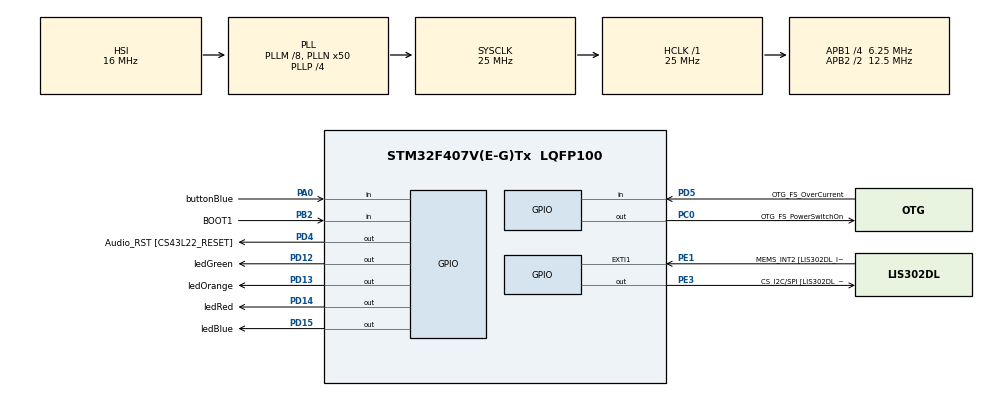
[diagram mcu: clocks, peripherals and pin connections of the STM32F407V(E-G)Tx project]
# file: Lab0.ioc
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Mcu.Family=STM32F4
Mcu.Name=STM32F407V(E-G)Tx
Mcu.Package=LQFP100
NVIC.PriorityGroup=NVIC_PRIORITYGROUP_4
NVIC.TIM7_IRQn=true\:0\:0\:false\:false\:true\:false\:true\:true
NVIC.TimeBase=TIM7_IRQn
NVIC.TimeBaseIP=TIM7
PA0-WKUP.GPIO_Label=buttonBlue
PA0-WKUP.Signal=GPIO_Input
PA10.GPIO_Label=OTG_FS_ID
PA10.GPIO_Mode=GPIO_MODE_AF_PP
PA10.GPIO_PuPd=GPIO_NOPULL
PA10.GPIO_Speed=GPIO_SPEED_FREQ_LOW
PA10.Signal=USB_OTG_FS_ID
PA11.GPIO_Label=OTG_FS_DM
PA11.GPIO_Mode=GPIO_MODE_AF_PP
PA11.GPIO_PuPd=GPIO_NOPULL
PA11.GPIO_Speed=GPIO_SPEED_FREQ_LOW
PA11.Signal=USB_OTG_FS_DM
PA12.GPIO_Label=OTG_FS_DP
PA12.GPIO_Mode=GPIO_MODE_AF_PP
PA12.GPIO_PuPd=GPIO_NOPULL
PA12.GPIO_Speed=GPIO_SPEED_FREQ_LOW
PA12.Signal=USB_OTG_FS_DP
PA13.GPIO_Label=SWDIO
PA13.Mode=Serial_Wire
PA13.Signal=SYS_JTMS-SWDIO
PA14.GPIO_Label=SWCLK
PA14.Mode=Serial_Wire
PA14.Signal=SYS_JTCK-SWCLK
PA4.GPIO_Label=I2S3_WS [CS43L22_LRCK]
PA4.GPIO_Mode=GPIO_MODE_AF_PP
PA4.GPIO_PuPd=GPIO_NOPULL
PA4.GPIO_Speed=GPIO_SPEED_FREQ_LOW
PA4.Signal=I2S3_WS
PA5.GPIO_Label=SPI1_SCK [LIS302DL_SCL/SPC]
PA5.GPIO_Mode=GPIO_MODE_AF_PP
PA5.GPIO_PuPd=GPIO_NOPULL
PA5.GPIO_Speed=GPIO_SPEED_FREQ_LOW
PA5.Signal=SPI1_SCK
PA6.GPIO_Label=SPI1_MISO [LIS302DL_SDO]
PA6.GPIO_Mode=GPIO_MODE_AF_PP
PA6.GPIO_PuPd=GPIO_NOPULL
PA6.GPIO_Speed=GPIO_SPEED_FREQ_LOW
PA6.Signal=SPI1_MISO
PA7.GPIO_Label=SPI1_MOSI [LIS302DL_SDA/SDI/SDO]
PA7.GPIO_Mode=GPIO_MODE_AF_PP
PA7.GPIO_PuPd=GPIO_NOPULL
PA7.GPIO_Speed=GPIO_SPEED_FREQ_LOW
PA7.Signal=SPI1_MOSI
PA9.GPIO_Label=VBUS_FS
PA9.GPIO_Mode=GPIO_MODE_INPUT
PA9.GPIO_PuPd=GPIO_NOPULL
PA9.Signal=USB_OTG_FS_VBUS
PB10.GPIO_Label=CLK_IN [MP45DT02_CLK]
PB10.GPIO_Mode=GPIO_MODE_AF_PP
PB10.GPIO_PuPd=GPIO_NOPULL
PB10.GPIO_Speed=GPIO_SPEED_FREQ_LOW
PB10.Signal=I2S2_CK
PB2.GPIO_Label=BOOT1
PB2.GPIO_Mode=GPIO_MODE_INPUT
PB2.GPIO_PuPd=GPIO_NOPULL
PB2.Signal=GPIO_Input
PB3.GPIO_Label=SWO
PB3.Signal=SYS_JTDO-SWO
PB6.GPIO_Label=Audio_SCL [CS43L22_SCL]
PB6.GPIO_Mode=GPIO_MODE_AF_OD
PB6.GPIO_PuPd=GPIO_NOPULL
PB6.GPIO_Speed=GPIO_SPEED_FREQ_LOW
PB6.Signal=I2C1_SCL
PB9.GPIO_Label=Audio_SDA [CS43L22_SDA]
PB9.GPIO_Mode=GPIO_MODE_AF_OD
PB9.GPIO_PuPd=GPIO_NOPULL
PB9.GPIO_Speed=GPIO_SPEED_FREQ_LOW
PB9.Signal=I2C1_SDA
PC0.GPIO_Label=OTG_FS_PowerSwitchOn
PC0.GPIO_PuPd=GPIO_NOPULL
PC0.GPIO_Speed=GPIO_SPEED_FREQ_LOW
PC0.PinState=GPIO_PIN_SET
PC0.Signal=GPIO_Output
PC10.GPIO_Label=I2S3_SCK [CS43L22_SCLK]
PC10.GPIO_Mode=GPIO_MODE_AF_PP
PC10.GPIO_PuPd=GPIO_NOPULL
PC10.GPIO_Speed=GPIO_SPEED_FREQ_LOW
PC10.Signal=I2S3_CK
PC12.GPIO_Label=I2S3_SD [CS43L22_SDIN]
PC12.GPIO_Mode=GPIO_MODE_AF_PP
PC12.GPIO_PuPd=GPIO_NOPULL
PC12.GPIO_Speed=GPIO_SPEED_FREQ_LOW
PC12.Signal=I2S3_SD
PC14-OSC32_IN.GPIO_Label=PC14-OSC32_IN
PC14-OSC32_IN.Signal=RCC_OSC32_IN
PC15-OSC32_OUT.GPIO_Label=PC15-OSC32_OUT
PC15-OSC32_OUT.Signal=RCC_OSC32_OUT
PC3.GPIO_Label=PDM_OUT [MP45DT02_DOUT]
PC3.GPIO_Mode=GPIO_MODE_AF_PP
PC3.GPIO_PuPd=GPIO_NOPULL
PC3.GPIO_Speed=GPIO_SPEED_FREQ_LOW
PC3.Signal=I2S2_SD
PC7.GPIO_Label=I2S3_MCK [CS43L22_MCLK]
PC7.GPIO_Mode=GPIO_MODE_AF_PP
PC7.GPIO_PuPd=GPIO_NOPULL
PC7.GPIO_Speed=GPIO_SPEED_FREQ_LOW
PC7.Signal=I2S3_MCK
PD12.GPIO_Label=ledGreen
PD12.Signal=GPIO_Output
PD13.GPIO_Label=ledOrange
PD13.GPIO_PuPd=GPIO_NOPULL
PD13.GPIO_Speed=GPIO_SPEED_FREQ_LOW
PD13.Signal=GPIO_Output
PD14.GPIO_Label=ledRed
PD14.GPIO_PuPd=GPIO_NOPULL
PD14.GPIO_Speed=GPIO_SPEED_FREQ_LOW
PD14.Signal=GPIO_Output
PD15.GPIO_Label=ledBlue
PD15.GPIO_PuPd=GPIO_NOPULL
PD15.GPIO_Speed=GPIO_SPEED_FREQ_LOW
PD15.Signal=GPIO_Output
PD4.GPIO_Label=Audio_RST [CS43L22_RESET]
PD4.GPIO_PuPd=GPIO_NOPULL
PD4.GPIO_Speed=GPIO_SPEED_FREQ_LOW
PD4.Signal=GPIO_Output
PD5.GPIO_Label=OTG_FS_OverCurrent
PD5.GPIO_Mode=GPIO_MODE_INPUT
PD5.GPIO_PuPd=GPIO_NOPULL
PD5.Signal=GPIO_Input
PE1.GPIO_Label=MEMS_INT2 [LIS302DL_INT2]
PE1.GPIO_ModeDefaultEXTI=GPIO_MODE_EVT_RISING
PE1.GPIO_PuPd=GPIO_NOPULL
PE1.Signal=GPXTI1
PE3.GPIO_Label=CS_I2C/SPI [LIS302DL_CS_I2C/SPI]
PE3.GPIO_PuPd=GPIO_NOPULL
PE3.GPIO_Speed=GPIO_SPEED_FREQ_LOW
PE3.Signal=GPIO_Output
PH0-OSC_IN.GPIO_Label=PH0-OSC_IN
PH0-OSC_IN.Signal=RCC_OSC_IN
PH1-OSC_OUT.GPIO_Label=PH1-OSC_OUT
PH1-OSC_OUT.Signal=RCC_OSC_OUT
ProjectManager.HeapSize=0x200
ProjectManager.StackSize=0x400
ProjectManager.TargetToolchain=STM32CubeIDE
RCC.48MHZClocksFreq_Value=14285714.285714285
RCC.AHBFreq_Value=25000000
RCC.APB1CLKDivider=RCC_HCLK_DIV4
RCC.APB1Freq_Value=6250000
RCC.APB1TimFreq_Value=12500000
RCC.APB2CLKDivider=RCC_HCLK_DIV2
RCC.APB2Freq_Value=12500000
RCC.APB2TimFreq_Value=25000000
RCC.CortexFreq_Value=25000000
RCC.HCLKFreq_Value=25000000
RCC.HSE_VALUE=8000000
RCC.HSI_VALUE=16000000
RCC.LSE_VALUE=32768
RCC.PLLM=8
RCC.PLLN=50
RCC.PLLP=RCC_PLLP_DIV4
RCC.PLLQ=7
RCC.SYSCLKFreq_VALUE=25000000
RCC.SYSCLKSource=RCC_SYSCLKSOURCE_PLLCLK
RCC.VCOOutputFreq_Value=100000000
VP_SYS_VS_tim7.Mode=TIM7
board=STM32F407G-DISC1

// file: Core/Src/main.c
/* USER CODE BEGIN Header */
/**
  ******************************************************************************
  * @file           : main.c
  * @brief          : Main program body
  ******************************************************************************
  * @attention
  *
  * Copyright (c) 2023 STMicroelectronics.
  * All rights reserved.
  *
  * This software is licensed under terms that can be found in the LICENSE file
  * in the root directory of this software component.
  * If no LICENSE file comes with this software, it is provided AS-IS.
  *
  ******************************************************************************
  */
/* USER CODE END Header */
#include "main.h"
#include "stdio.h"
#include "stdlib.h"
#include"FreeRTOS.h"
#include "task.h"
#include "queue.h"

void SystemClock_Config(void);
static void MX_GPIO_Init(void);

/* USER CODE BEGIN PFP */

QueueHandle_t msgQueue;
void LEDTask_App(void *pvParameters)
{
	unsigned int msg = 0;
	for(;;)
	{
		while(msg==0){
			HAL_GPIO_WritePin(ledGreen_GPIO_Port, GPIO_PIN_12, GPIO_PIN_SET);
			vTaskDelay(1000);
			HAL_GPIO_WritePin(ledGreen_GPIO_Port, GPIO_PIN_12, GPIO_PIN_RESET);
			vTaskDelay(1000);
			HAL_GPIO_WritePin(ledRed_GPIO_Port, GPIO_PIN_14, GPIO_PIN_SET);
			vTaskDelay(1000);
			HAL_GPIO_WritePin(ledRed_GPIO_Port, GPIO_PIN_14, GPIO_PIN_RESET);
			vTaskDelay(1000);
			xQueueReceive(msgQueue, &msg, 500);
			if(msg==1)	break;
		}
		while(msg==1){
			HAL_GPIO_WritePin(ledOrange_GPIO_Port, GPIO_PIN_13, GPIO_PIN_SET);
			vTaskDelay(1000);
			HAL_GPIO_WritePin(ledOrange_GPIO_Port, GPIO_PIN_13, GPIO_PIN_RESET);
			vTaskDelay(1000);
			xQueueReceive(msgQueue, &msg, 500);
			if(msg==0)	break;
		}
	}
}

void buttonSwitch_App(void* pvParameters){
	unsigned int count = 0;
	for(;;){
		if(HAL_GPIO_ReadPin(buttonBlue_GPIO_Port, GPIO_PIN_0)){
			HAL_Delay(10);
			while(HAL_GPIO_ReadPin(buttonBlue_GPIO_Port, GPIO_PIN_0)){
				;
			}
			++count;
			count %= 2;
			xQueueSend(msgQueue, (int*)&count,1);
			taskYIELD();
		}
	}

}
/* USER CODE END PFP */

int main(void)
{

  /* MCU Configuration--------------------------------------------------------*/

  /* Reset of all peripherals, Initializes the Flash interface and the Systick. */
  HAL_Init();

  /* Configure the system clock */
  SystemClock_Config();

  /* Initialize all configured peripherals */
  MX_GPIO_Init();
  /* USER CODE BEGIN 2 */
  msgQueue  = xQueueCreate(1, sizeof(unsigned long));
  xTaskCreate(LEDTask_App,"LEDTask_App",1000,NULL,1,NULL);
  xTaskCreate(buttonSwitch_App,"buttonSwitch_App",1000,NULL,1,NULL);
  vTaskStartScheduler();
  /* USER CODE END 2 */

  /* Infinite loop */
  while (1)
  {
  }
}

void SystemClock_Config(void)
{
  RCC_OscInitTypeDef RCC_OscInitStruct = {0};
  RCC_ClkInitTypeDef RCC_ClkInitStruct = {0};

  /** Configure the main internal regulator output voltage
  */
  __HAL_RCC_PWR_CLK_ENABLE();
  __HAL_PWR_VOLTAGESCALING_CONFIG(PWR_REGULATOR_VOLTAGE_SCALE1);

  /** Initializes the RCC Oscillators according to the specified parameters
  * in the RCC_OscInitTypeDef structure.
  */
  RCC_OscInitStruct.OscillatorType = RCC_OSCILLATORTYPE_HSI;
  RCC_OscInitStruct.HSIState = RCC_HSI_ON;
  RCC_OscInitStruct.HSICalibrationValue = RCC_HSICALIBRATION_DEFAULT;
  RCC_OscInitStruct.PLL.PLLState = RCC_PLL_ON;
  RCC_OscInitStruct.PLL.PLLSource = RCC_PLLSOURCE_HSI;
  RCC_OscInitStruct.PLL.PLLM = 8;
  RCC_OscInitStruct.PLL.PLLN = 50;
  RCC_OscInitStruct.PLL.PLLP = RCC_PLLP_DIV4;
  RCC_OscInitStruct.PLL.PLLQ = 7;
  if (HAL_RCC_OscConfig(&RCC_OscInitStruct) != HAL_OK)
  {
    Error_Handler();
  }

  /** Initializes the CPU, AHB and APB buses clocks
  */
  RCC_ClkInitStruct.ClockType = RCC_CLOCKTYPE_HCLK|RCC_CLOCKTYPE_SYSCLK
                              |RCC_CLOCKTYPE_PCLK1|RCC_CLOCKTYPE_PCLK2;
  RCC_ClkInitStruct.SYSCLKSource = RCC_SYSCLKSOURCE_PLLCLK;
  RCC_ClkInitStruct.AHBCLKDivider = RCC_SYSCLK_DIV1;
  RCC_ClkInitStruct.APB1CLKDivider = RCC_HCLK_DIV4;
  RCC_ClkInitStruct.APB2CLKDivider = RCC_HCLK_DIV2;

  if (HAL_RCC_ClockConfig(&RCC_ClkInitStruct, FLASH_LATENCY_0) != HAL_OK)
  {
    Error_Handler();
  }
}

static void MX_GPIO_Init(void)
{
  GPIO_InitTypeDef GPIO_InitStruct = {0};

  /* GPIO Ports Clock Enable */
  __HAL_RCC_GPIOE_CLK_ENABLE();
  __HAL_RCC_GPIOC_CLK_ENABLE();
  __HAL_RCC_GPIOH_CLK_ENABLE();
  __HAL_RCC_GPIOA_CLK_ENABLE();
  __HAL_RCC_GPIOB_CLK_ENABLE();
  __HAL_RCC_GPIOD_CLK_ENABLE();

  /*Configure GPIO pin Output Level */
  HAL_GPIO_WritePin(CS_I2C_SPI_GPIO_Port, CS_I2C_SPI_Pin, GPIO_PIN_RESET);

  /*Configure GPIO pin Output Level */
  HAL_GPIO_WritePin(OTG_FS_PowerSwitchOn_GPIO_Port, OTG_FS_PowerSwitchOn_Pin, GPIO_PIN_SET);

  /*Configure GPIO pin Output Level */
  HAL_GPIO_WritePin(GPIOD, ledGreen_Pin|ledOrange_Pin|ledRed_Pin|ledBlue_Pin
                          |Audio_RST_Pin, GPIO_PIN_RESET);

  /*Configure GPIO pin : CS_I2C_SPI_Pin */
  GPIO_InitStruct.Pin = CS_I2C_SPI_Pin;
  GPIO_InitStruct.Mode = GPIO_MODE_OUTPUT_PP;
  GPIO_InitStruct.Pull = GPIO_NOPULL;
  GPIO_InitStruct.Speed = GPIO_SPEED_FREQ_LOW;
  HAL_GPIO_Init(CS_I2C_SPI_GPIO_Port, &GPIO_InitStruct);

  /*Configure GPIO pin : OTG_FS_PowerSwitchOn_Pin */
  GPIO_InitStruct.Pin = OTG_FS_PowerSwitchOn_Pin;
  GPIO_InitStruct.Mode = GPIO_MODE_OUTPUT_PP;
  GPIO_InitStruct.Pull = GPIO_NOPULL;
  GPIO_InitStruct.Speed = GPIO_SPEED_FREQ_LOW;
  HAL_GPIO_Init(OTG_FS_PowerSwitchOn_GPIO_Port, &GPIO_InitStruct);

  /*Configure GPIO pin : PDM_OUT_Pin */
  GPIO_InitStruct.Pin = PDM_OUT_Pin;
  GPIO_InitStruct.Mode = GPIO_MODE_AF_PP;
  GPIO_InitStruct.Pull = GPIO_NOPULL;
  GPIO_InitStruct.Speed = GPIO_SPEED_FREQ_LOW;
  GPIO_InitStruct.Alternate = GPIO_AF5_SPI2;
  HAL_GPIO_Init(PDM_OUT_GPIO_Port, &GPIO_InitStruct);

  /*Configure GPIO pin : buttonBlue_Pin */
  GPIO_InitStruct.Pin = buttonBlue_Pin;
  GPIO_InitStruct.Mode = GPIO_MODE_INPUT;
  GPIO_InitStruct.Pull = GPIO_NOPULL;
  HAL_GPIO_Init(buttonBlue_GPIO_Port, &GPIO_InitStruct);

  /*Configure GPIO pin : I2S3_WS_Pin */
  GPIO_InitStruct.Pin = I2S3_WS_Pin;
  GPIO_InitStruct.Mode = GPIO_MODE_AF_PP;
  GPIO_InitStruct.Pull = GPIO_NOPULL;
  GPIO_InitStruct.Speed = GPIO_SPEED_FREQ_LOW;
  GPIO_InitStruct.Alternate = GPIO_AF6_SPI3;
  HAL_GPIO_Init(I2S3_WS_GPIO_Port, &GPIO_InitStruct);

  /*Configure GPIO pins : SPI1_SCK_Pin SPI1_MISO_Pin SPI1_MOSI_Pin */
  GPIO_InitStruct.Pin = SPI1_SCK_Pin|SPI1_MISO_Pin|SPI1_MOSI_Pin;
  GPIO_InitStruct.Mode = GPIO_MODE_AF_PP;
  GPIO_InitStruct.Pull = GPIO_NOPULL;
  GPIO_InitStruct.Speed = GPIO_SPEED_FREQ_LOW;
  GPIO_InitStruct.Alternate = GPIO_AF5_SPI1;
  HAL_GPIO_Init(GPIOA, &GPIO_InitStruct);

  /*Configure GPIO pin : BOOT1_Pin */
  GPIO_InitStruct.Pin = BOOT1_Pin;
  GPIO_InitStruct.Mode = GPIO_MODE_INPUT;
  GPIO_InitStruct.Pull = GPIO_NOPULL;
  HAL_GPIO_Init(BOOT1_GPIO_Port, &GPIO_InitStruct);

  /*Configure GPIO pin : CLK_IN_Pin */
  GPIO_InitStruct.Pin = CLK_IN_Pin;
  GPIO_InitStruct.Mode = GPIO_MODE_AF_PP;
  GPIO_InitStruct.Pull = GPIO_NOPULL;
  GPIO_InitStruct.Speed = GPIO_SPEED_FREQ_LOW;
  GPIO_InitStruct.Alternate = GPIO_AF5_SPI2;
  HAL_GPIO_Init(CLK_IN_GPIO_Port, &GPIO_InitStruct);

  /*Configure GPIO pins : ledGreen_Pin ledOrange_Pin ledRed_Pin ledBlue_Pin
                           Audio_RST_Pin */
  GPIO_InitStruct.Pin = ledGreen_Pin|ledOrange_Pin|ledRed_Pin|ledBlue_Pin
                          |Audio_RST_Pin;
  GPIO_InitStruct.Mode = GPIO_MODE_OUTPUT_PP;
  GPIO_InitStruct.Pull = GPIO_NOPULL;
  GPIO_InitStruct.Speed = GPIO_SPEED_FREQ_LOW;
  HAL_GPIO_Init(GPIOD, &GPIO_InitStruct);

  /*Configure GPIO pins : I2S3_MCK_Pin I2S3_SCK_Pin I2S3_SD_Pin */
  GPIO_InitStruct.Pin = I2S3_MCK_Pin|I2S3_SCK_Pin|I2S3_SD_Pin;
  GPIO_InitStruct.Mode = GPIO_MODE_AF_PP;
  GPIO_InitStruct.Pull = GPIO_NOPULL;
  GPIO_InitStruct.Speed = GPIO_SPEED_FREQ_LOW;
  GPIO_InitStruct.Alternate = GPIO_AF6_SPI3;
  HAL_GPIO_Init(GPIOC, &GPIO_InitStruct);

  /*Configure GPIO pin : VBUS_FS_Pin */
  GPIO_InitStruct.Pin = VBUS_FS_Pin;
  GPIO_InitStruct.Mode = GPIO_MODE_INPUT;
  GPIO_InitStruct.Pull = GPIO_NOPULL;
  HAL_GPIO_Init(VBUS_FS_GPIO_Port, &GPIO_InitStruct);

  /*Configure GPIO pins : OTG_FS_ID_Pin OTG_FS_DM_Pin OTG_FS_DP_Pin */
  GPIO_InitStruct.Pin = OTG_FS_ID_Pin|OTG_FS_DM_Pin|OTG_FS_DP_Pin;
  GPIO_InitStruct.Mode = GPIO_MODE_AF_PP;
  GPIO_InitStruct.Pull = GPIO_NOPULL;
  GPIO_InitStruct.Speed = GPIO_SPEED_FREQ_LOW;
  GPIO_InitStruct.Alternate = GPIO_AF10_OTG_FS;
  HAL_GPIO_Init(GPIOA, &GPIO_InitStruct);

  /*Configure GPIO pin : OTG_FS_OverCurrent_Pin */
  GPIO_InitStruct.Pin = OTG_FS_OverCurrent_Pin;
  GPIO_InitStruct.Mode = GPIO_MODE_INPUT;
  GPIO_InitStruct.Pull = GPIO_NOPULL;
  HAL_GPIO_Init(OTG_FS_OverCurrent_GPIO_Port, &GPIO_InitStruct);

  /*Configure GPIO pins : Audio_SCL_Pin Audio_SDA_Pin */
  GPIO_InitStruct.Pin = Audio_SCL_Pin|Audio_SDA_Pin;
  GPIO_InitStruct.Mode = GPIO_MODE_AF_OD;
  GPIO_InitStruct.Pull = GPIO_NOPULL;
  GPIO_InitStruct.Speed = GPIO_SPEED_FREQ_LOW;
  GPIO_InitStruct.Alternate = GPIO_AF4_I2C1;
  HAL_GPIO_Init(GPIOB, &GPIO_InitStruct);

  /*Configure GPIO pin : MEMS_INT2_Pin */
  GPIO_InitStruct.Pin = MEMS_INT2_Pin;
  GPIO_InitStruct.Mode = GPIO_MODE_EVT_RISING;
  GPIO_InitStruct.Pull = GPIO_NOPULL;
  HAL_GPIO_Init(MEMS_INT2_GPIO_Port, &GPIO_InitStruct);

}

void HAL_TIM_PeriodElapsedCallback(TIM_HandleTypeDef *htim)
{
  if (htim->Instance == TIM7) {
    HAL_IncTick();
  }
}

void Error_Handler(void)
{
  __disable_irq();
  while (1)
  {
  }
}
